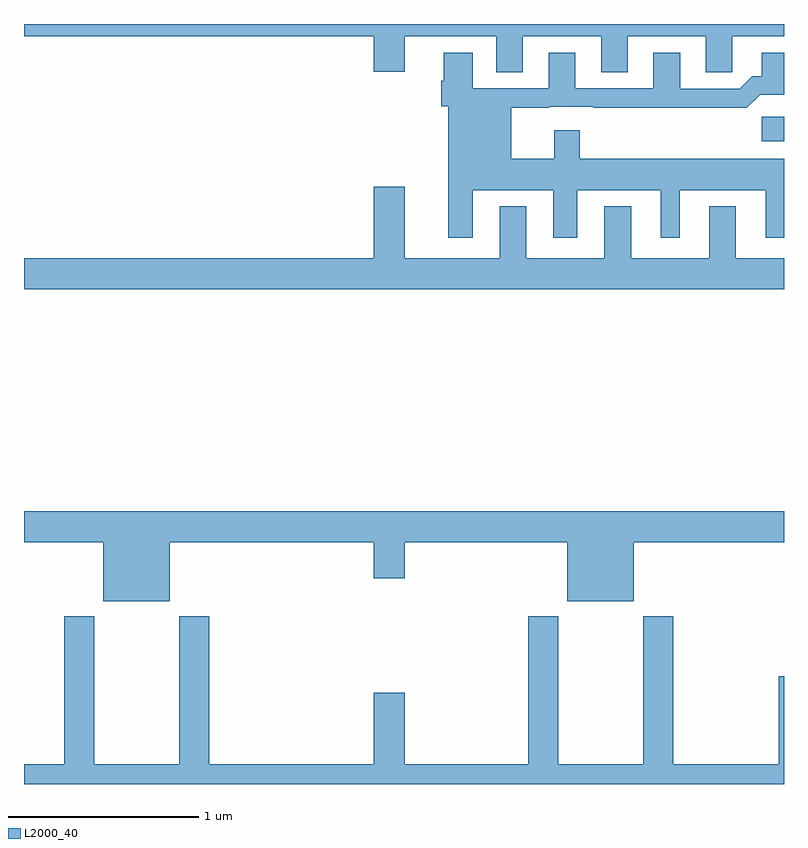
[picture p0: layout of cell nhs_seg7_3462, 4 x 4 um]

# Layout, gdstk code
import gdstk
lib = gdstk.Library(unit=1e-6, precision=1e-09)
def R(c, l, rs):  # rectangles x0, y0, x1, y1
    for r in rs: c.add(gdstk.rectangle(r[:2], r[2:], *l))
def P(c, l, *ps):  # polygons
    for p in ps: c.add(gdstk.Polygon(p, *l))
L2000_40 = (2000, 40)

nhs_seg7_3462 = lib.new_cell('nhs_seg7_3462')
R(nhs_seg7_3462, L2000_40, [(334.884,1013.384,335,1013.513)])
P(nhs_seg7_3462, L2000_40, [(331,1013.936),(332.84,1013.936),(332.84,1013.748),(333.004,1013.748),(333.004,1013.936),(333.485,1013.936),(333.485,1013.746),(333.625,1013.746),(333.625,1013.936),(334.037,1013.936),(334.037,1013.746),(334.177,1013.746),(334.177,1013.936),(334.589,1013.936),(334.589,1013.746),(334.728,1013.746),(334.728,1013.936),(335,1013.936),(335,1014),(331,1014)],
  [(333.361,1013.126),(333.785,1013.126),(333.785,1012.875),(333.913,1012.875),(333.913,1013.126),(334.352,1013.126),(334.352,1012.875),(334.45,1012.875),(334.45,1013.126),(334.904,1013.126),(334.904,1012.875),(335,1012.875),(335,1013.29),(333.926,1013.29),(333.926,1013.44),(333.791,1013.44),(333.791,1013.29),(333.565,1013.29),(333.565,1013.56),(333.765,1013.56),(333.765,1013.565),(333.997,1013.565),(333.997,1013.56),(334.549,1013.56),(334.549,1013.558),(334.805,1013.558),(334.874,1013.627),(335,1013.627),(335,1013.848),(334.883,1013.848),(334.883,1013.725),(334.834,1013.725),(334.767,1013.658),(334.453,1013.658),(334.453,1013.848),(334.313,1013.848),(334.313,1013.661),(333.901,1013.661),(333.901,1013.848),(333.761,1013.848),(333.761,1013.661),(333.361,1013.661),(333.361,1013.848),(333.209,1013.848),(333.209,1013.702),(333.197,1013.702),(333.197,1013.568),(333.233,1013.568),(333.233,1012.875),(333.361,1012.875)],
  [(335,1012.768),(334.747,1012.768),(334.747,1013.041),(334.607,1013.041),(334.607,1012.768),(334.195,1012.768),(334.195,1013.041),(334.055,1013.041),(334.055,1012.768),(333.643,1012.768),(333.643,1013.041),(333.503,1013.041),(333.503,1012.768),(333.004,1012.768),(333.004,1013.143),(332.84,1013.143),(332.84,1012.768),(331,1012.768),(331,1012.604),(335,1012.604)],
  [(331.768,1011.272),(332.84,1011.272),(332.84,1011.084),(333.004,1011.084),(333.004,1011.272),(333.86,1011.272),(333.86,1010.963),(334.21,1010.963),(334.21,1011.272),(335,1011.272),(335,1011.436),(331,1011.436),(331,1011.272),(331.418,1011.272),(331.418,1010.963),(331.768,1010.963)],
  [(335,1010.566),(334.973,1010.566),(334.973,1010.104),(334.418,1010.104),(334.418,1010.884),(334.258,1010.884),(334.258,1010.104),(333.813,1010.104),(333.813,1010.884),(333.653,1010.884),(333.653,1010.104),(333.004,1010.104),(333.004,1010.479),(332.84,1010.479),(332.84,1010.104),(331.976,1010.104),(331.976,1010.884),(331.816,1010.884),(331.816,1010.104),(331.371,1010.104),(331.371,1010.884),(331.211,1010.884),(331.211,1010.104),(331,1010.104),(331,1010),(335,1010)])

lib.write_gds('nhs_seg7_3462.gds')
